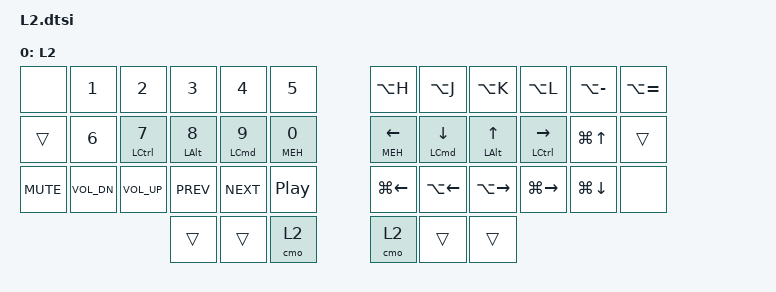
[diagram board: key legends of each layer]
/**
 * Numeric, Navigation and Media Controls Layer
 */

/ {
  keymap {
    compatible = "zmk,keymap";

    layer_2 {
      display-name = "L2";
      bindings = <
// ╭───────────────┬───────────────┬───────────────┬───────────────┬───────────────┬───────────────╮   ╭───────────────┬───────────────┬───────────────┬───────────────┬───────────────┬───────────────╮
// │0              │1              │2              │3              │4              │5              │   │6              │7              │8              │9              │10             │11             │
    &none           &kp N1          &kp N2          &kp N3          &kp N4          &kp N5              &kp LA(H)       &kp LA(J)       &kp LA(K)       &kp LA(L)       &kp LA(MINUS)   &kp LA(EQUAL)
// ├───────────────├───────────────┼───────────────┼───────────────┼───────────────┼───────────────┤   ├───────────────├───────────────┼───────────────┼───────────────┼───────────────┼───────────────┤
// │12             │13             │14             │15             │16             │17             │   │18             │19             │20             │21             │22             │23             │
    &trans          &kp N6          &hrml LCTRL N7  &hrml LALT N8   &hrml LCMD N9   &hrml MEH N0        &hrmr MEH LEFT  &hrmr LCMD DOWN &hrmr LALT UP   &hrmr LCTRL RIGHT &kp LG(UP)     &trans
// ├───────────────├───────────────┼───────────────┼───────────────┼───────────────┼───────────────┤   ├───────────────├───────────────┼───────────────┼───────────────┼───────────────┼───────────────┤
// │24             │25             │26             │27             │28             │29             │   │30             │31             │32             │33             │34             │35             │
    &kp C_MUTE      &kp C_VOL_DN    &kp C_VOL_UP    &kp C_PREV      &kp C_NEXT      &kp C_PP            &kp LG(LEFT)    &kp LA(LEFT)    &kp LA(RIGHT)   &kp LG(RIGHT)   &kp LG(DOWN)    &none
// ╰───────────────┴───────────────┴───────────────┼───────────────┼───────────────┼───────────────┤   ├───────────────├───────────────┼───────────────┼───────────────┴───────────────┴───────────────╯
//                                                 │36             │37             │38             │   │39             │40             │41             │
                                                    &trans          &trans          &cmo L2             &cmo L2         &trans          &trans
//                                                 ╰───────────────┴───────────────┴───────────────╯   ╰───────────────┴───────────────┴───────────────╯
      >;
    };
  };
};
